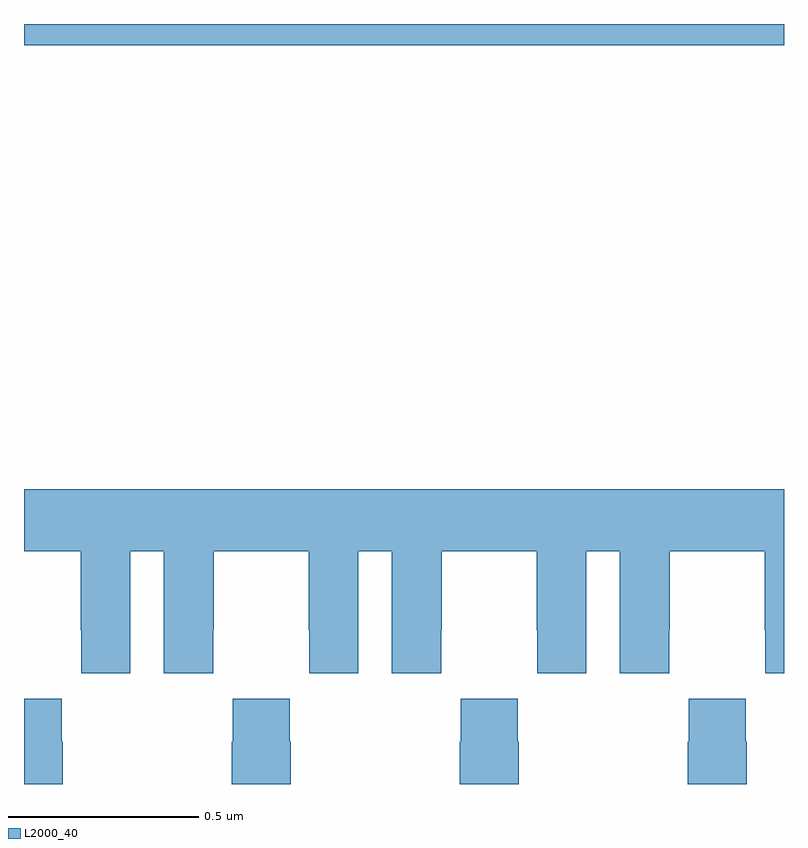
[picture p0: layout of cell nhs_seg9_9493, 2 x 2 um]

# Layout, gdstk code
import gdstk
lib = gdstk.Library(unit=1e-6, precision=1e-09)
def R(c, l, rs):  # rectangles x0, y0, x1, y1
    for r in rs: c.add(gdstk.rectangle(r[:2], r[2:], *l))
def P(c, l, *ps):  # polygons
    for p in ps: c.add(gdstk.Polygon(p, *l))
L2000_40 = (2000, 40)

nhs_seg9_9493 = lib.new_cell('nhs_seg9_9493')
R(nhs_seg9_9493, L2000_40, [(231,1172.444,233,1172.5)])
P(nhs_seg9_9493, L2000_40, [(231.28,1171.112),(231.368,1171.112),(231.368,1170.792),(231.498,1170.792),(231.498,1170.904),(231.499,1170.904),(231.499,1171.112),(231.749,1171.112),(231.749,1170.904),(231.75,1170.904),(231.75,1170.792),(231.88,1170.792),(231.88,1171.112),(231.968,1171.112),(231.968,1170.792),(232.098,1170.792),(232.098,1170.904),(232.099,1170.904),(232.099,1171.112),(232.349,1171.112),(232.349,1170.904),(232.35,1170.904),(232.35,1170.792),(232.48,1170.792),(232.48,1171.112),(232.568,1171.112),(232.568,1170.792),(232.698,1170.792),(232.698,1170.904),(232.699,1170.904),(232.699,1171.112),(232.949,1171.112),(232.949,1170.904),(232.95,1170.904),(232.95,1170.792),(233,1170.792),(233,1171.276),(231,1171.276),(231,1171.112),(231.149,1171.112),(231.149,1170.904),(231.15,1170.904),(231.15,1170.792),(231.28,1170.792)],
  [(231.702,1170.611),(231.699,1170.611),(231.699,1170.724),(231.549,1170.724),(231.549,1170.611),(231.547,1170.611),(231.547,1170.5),(231.702,1170.5)],
  [(232.302,1170.611),(232.299,1170.611),(232.299,1170.724),(232.149,1170.724),(232.149,1170.611),(232.147,1170.611),(232.147,1170.5),(232.302,1170.5)],
  [(232.902,1170.611),(232.899,1170.611),(232.899,1170.724),(232.749,1170.724),(232.749,1170.611),(232.747,1170.611),(232.747,1170.5),(232.902,1170.5)],
  [(231.102,1170.611),(231.099,1170.611),(231.099,1170.724),(231,1170.724),(231,1170.5),(231.102,1170.5)])

lib.write_gds('nhs_seg9_9493.gds')
